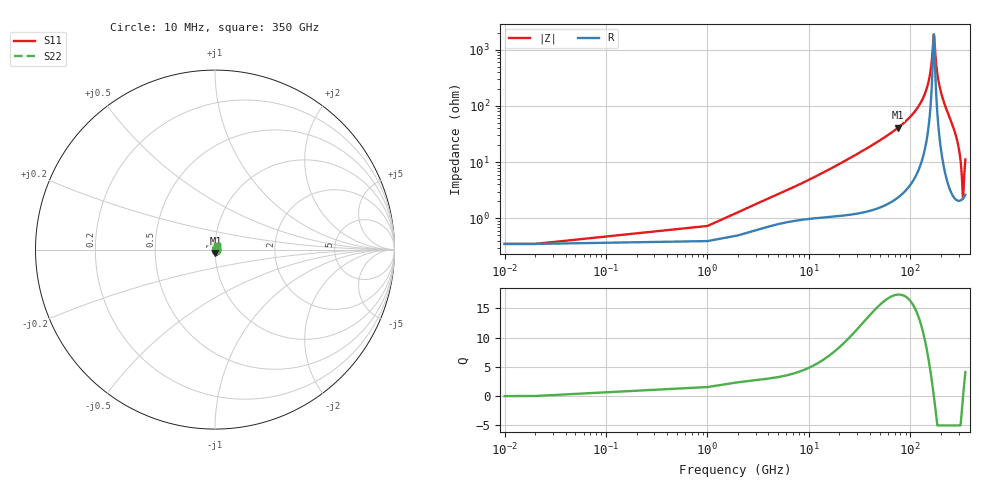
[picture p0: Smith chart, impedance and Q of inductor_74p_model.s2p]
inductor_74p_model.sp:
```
* WIDEBAND RFIC INDUCTOR MODEL WITH SUBSTRATE NETWORK
* Created using inductor_fit.py 1.2 from inductor_74p.s2p
* Fit band 0.010 to 204.000 GHz, 3 coil segment(s)
* Total element values:
*   Rs = 0.350681
*   Ls = 6.88429e-11
*   Rskin1 = 0.698425
*   Lskin1 = 2.85095e-11
*   Rskin2 = 1.95069
*   Lskin2 = 2.53761e-12
*   Cs = 1e-19
*   Cox1 = 1.49622e-14
*   Rsi1 = 0.139372
*   Csi1 = 2.86739e-19
*   Cox2 = 1.49622e-14
*   Rsi2 = 0.139372
*   Csi2 = 2.86739e-19
*
.SUBCKT inductor_model p1 p2
* coil segment 1
Rs_1 p1 a1 0.116894
Ls_1 a1 b1 2.29476e-11
Rskin1_1 b1 d1 0.232808
Lskin1_1 b1 d1 9.50315e-12
Rskin2_1 d1 c1 0.650229
Lskin2_1 d1 c1 8.4587e-13
* coil segment 2
Rs_2 c1 a2 0.116894
Ls_2 a2 b2 2.29476e-11
Rskin1_2 b2 d2 0.232808
Lskin1_2 b2 d2 9.50315e-12
Rskin2_2 d2 c2 0.650229
Lskin2_2 d2 c2 8.4587e-13
* coil segment 3
Rs_3 c2 a3 0.116894
Ls_3 a3 b3 2.29476e-11
Rskin1_3 b3 d3 0.232808
Lskin1_3 b3 d3 9.50315e-12
Rskin2_3 d3 p2 0.650229
Lskin2_3 d3 p2 8.4587e-13
Cs p1 p2 1e-19
* substrate network at p1
Cox_n0 p1 s0 4.9874e-15
Rsi_n0 s0 0 0.418116
Csi_n0 s0 0 9.55796e-20
* substrate network at c1
Cox_n1 c1 s1 9.97481e-15
Rsi_n1 s1 0 0.209058
Csi_n1 s1 0 1.91159e-19
* substrate network at c2
Cox_n2 c2 s2 9.97481e-15
Rsi_n2 s2 0 0.209058
Csi_n2 s2 0 1.91159e-19
* substrate network at p2
Cox_n3 p2 s3 4.9874e-15
Rsi_n3 s3 0 0.418116
Csi_n3 s3 0 9.55796e-20
.ENDS
```
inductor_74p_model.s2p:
! Inductor model fitted by inductor_fit.py 1.2 from inductor_74p.s2p
#  Hz  S  RI  R  50
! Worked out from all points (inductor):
!   352 points, 10 MHz to 350 GHz, reference 50 ohm
!   read as 1/Y11, port 2 shorted: L = 81 pH near 4 GHz
!   highest Q = 17.4 at 76 GHz (marker M1), where L = 85.7 pH
!   self-resonance near 171.1 GHz
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1e7  0.00349 1.53e-05  0.9965 -0.000109  0.9965 -0.000109  0.00349 1.53e-05
4e9  0.00716 0.00232  0.9921 -0.0399  0.9921 -0.0399  0.00716 0.00232
9e9  0.00941 -0.000197  0.987 -0.0843  0.987 -0.0843  0.00941 -0.000197
7.6e10  0.00257 -0.0195  0.7544 -0.6312  0.7544 -0.6312  0.00257 -0.0195
1.28e11  -0.0047 -0.0197  0.3792 -0.9011  0.3792 -0.9011  -0.0047 -0.0197
1.76e11  0.000762 -0.0151  -0.0444 -0.9721  -0.0444 -0.9721  0.000762 -0.0151
2.29e11  0.0133 -0.0205  -0.5034 -0.8277  -0.5034 -0.8277  0.0133 -0.0205
2.86e11  0.00996 -0.0267  -0.8603 -0.435  -0.8603 -0.435  0.00996 -0.0267
3.14e11  0.00412 -0.0155  -0.9452 -0.1772  -0.9452 -0.1772  0.00412 -0.0155
3.32e11  0.00411 -0.000386  -0.9599 0.000778  -0.9599 0.000778  0.00411 -0.000386
3.5e11  0.011 0.0201  -0.9401 0.1817  -0.9401 0.1817  0.011 0.0201
